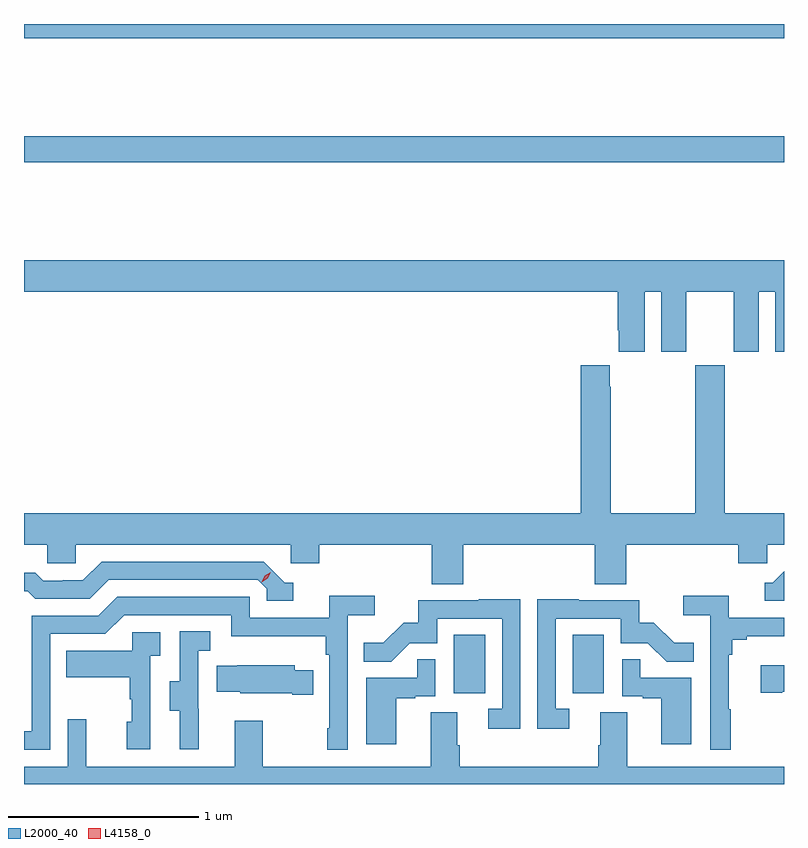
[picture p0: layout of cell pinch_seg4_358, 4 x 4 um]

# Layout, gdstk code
import gdstk
lib = gdstk.Library(unit=1e-6, precision=1e-09)
def R(c, l, rs):  # rectangles x0, y0, x1, y1
    for r in rs: c.add(gdstk.rectangle(r[:2], r[2:], *l))
def P(c, l, *ps):  # polygons
    for p in ps: c.add(gdstk.Polygon(p, *l))
L2000_40 = (2000, 40)
L4158_0 = (4158, 0)

pinch_seg4_358 = lib.new_cell('pinch_seg4_358')
R(pinch_seg4_358, L2000_40, [(975.218,793.374,975.382,793.681), (975.842,793.374,976.006,793.681), (972.955,796.168,976.955,796.304), (972.955,796.82,976.955,796.896)])
P(pinch_seg4_358, L2000_40, [(976.222,795.488),(976.31,795.488),(976.31,795.171),(976.441,795.171),(976.441,795.488),(976.691,795.488),(976.691,795.171),(976.822,795.171),(976.822,795.488),(976.91,795.488),(976.91,795.171),(976.955,795.171),(976.955,795.652),(972.955,795.652),(972.955,795.488),(976.079,795.488),(976.079,795.283),(976.085,795.283),(976.085,795.171),(976.222,795.171)],
  [(975.266,794.156),(975.959,794.156),(975.959,793.948),(976.124,793.948),(976.124,794.156),(976.715,794.156),(976.715,794.058),(976.866,794.058),(976.866,794.156),(976.955,794.156),(976.955,794.32),(976.644,794.32),(976.644,795.1),(976.489,795.1),(976.489,794.32),(976.044,794.32),(976.044,794.987),(976.039,794.987),(976.039,795.1),(975.884,795.1),(975.884,794.32),(972.955,794.32),(972.955,794.156),(973.077,794.156),(973.077,794.058),(973.227,794.058),(973.227,794.156),(974.358,794.156),(974.358,794.058),(974.51,794.058),(974.51,794.156),(975.101,794.156),(975.101,793.948),(975.266,793.948)],
  [(974.371,793.956),(974.328,793.956),(974.217,794.067),(973.364,794.067),(973.265,793.968),(973.158,793.968),(973.158,793.965),(973.055,793.965),(973.013,794.008),(972.955,794.008),(972.955,793.911),(972.974,793.911),(973.013,793.872),(973.302,793.872),(973.401,793.971),(974.184,793.971),(974.232,793.923),(974.232,793.86),(974.371,793.86)],
  [(976.955,794.015),(976.896,793.956),(976.853,793.956),(976.853,793.86),(976.955,793.86)],
  [(973.092,793.686),(973.383,793.686),(973.482,793.785),(974.046,793.785),(974.046,793.673),(974.542,793.673),(974.542,793.577),(974.562,793.577),(974.562,793.189),(974.55,793.189),(974.55,793.077),(974.658,793.077),(974.658,793.784),(974.8,793.784),(974.8,793.886),(974.561,793.886),(974.561,793.77),(974.142,793.77),(974.142,793.881),(973.445,793.881),(973.346,793.782),(972.996,793.782),(972.996,793.173),(972.955,793.173),(972.955,793.077),(973.092,793.077)],
  [(976.675,793.289),(976.663,793.289),(976.663,793.577),(976.682,793.577),(976.682,793.654),(976.759,793.654),(976.759,793.673),(976.955,793.673),(976.955,793.77),(976.664,793.77),(976.664,793.886),(976.425,793.886),(976.425,793.784),(976.566,793.784),(976.566,793.077),(976.675,793.077)],
  [(975.567,793.868),(975.349,793.868),(975.349,793.863),(975.031,793.863),(975.031,793.746),(974.954,793.746),(974.847,793.639),(974.743,793.639),(974.743,793.54),(974.887,793.54),(974.985,793.638),(975.129,793.638),(975.129,793.767),(975.471,793.767),(975.471,793.293),(975.399,793.293),(975.399,793.188),(975.567,793.188)],
  [(975.826,793.293),(975.753,793.293),(975.753,793.767),(976.095,793.767),(976.095,793.638),(976.239,793.638),(976.337,793.54),(976.481,793.54),(976.481,793.639),(976.377,793.639),(976.27,793.746),(976.194,793.746),(976.194,793.863),(975.875,793.863),(975.875,793.868),(975.657,793.868),(975.657,793.188),(975.826,793.188)],
  [(973.874,793.293),(973.872,793.293),(973.872,793.597),(973.936,793.597),(973.936,793.7),(973.776,793.7),(973.776,793.437),(973.721,793.437),(973.721,793.282),(973.775,793.282),(973.775,793.08),(973.874,793.08)],
  [(973.62,793.571),(973.672,793.571),(973.672,793.695),(973.524,793.695),(973.524,793.597),(973.177,793.597),(973.177,793.457),(973.512,793.457),(973.512,793.343),(973.522,793.343),(973.522,793.224),(973.496,793.224),(973.496,793.08),(973.62,793.08)],
  [(976.468,793.455),(976.199,793.455),(976.199,793.553),(976.104,793.553),(976.104,793.359),(976.211,793.359),(976.211,793.347),(976.31,793.347),(976.31,793.104),(976.468,793.104)],
  [(974.914,793.347),(975.014,793.347),(975.014,793.359),(975.12,793.359),(975.12,793.553),(975.025,793.553),(975.025,793.455),(974.756,793.455),(974.756,793.104),(974.914,793.104)],
  [(976.945,793.382),(976.955,793.382),(976.955,793.522),(976.833,793.522),(976.833,793.375),(976.945,793.375)],
  [(974.477,793.495),(974.379,793.495),(974.379,793.522),(974.077,793.522),(974.077,793.519),(973.969,793.519),(973.969,793.382),(974.094,793.382),(974.094,793.373),(974.366,793.373),(974.366,793.366),(974.477,793.366)],
  [(976.955,792.988),(976.129,792.988),(976.129,793.274),(975.989,793.274),(975.989,793.1),(975.977,793.1),(975.977,792.988),(975.248,792.988),(975.248,793.1),(975.235,793.1),(975.235,793.274),(975.095,793.274),(975.095,792.988),(974.211,792.988),(974.211,793.228),(974.063,793.228),(974.063,792.988),(973.283,792.988),(973.283,793.237),(973.185,793.237),(973.185,792.988),(972.955,792.988),(972.955,792.896),(976.955,792.896)])
P(pinch_seg4_358, L4158_0, [(974.206,793.958),(974.206,793.959),(974.222,793.991),(974.253,794.011),(974.253,794.011),(974.253,794.011),(974.237,793.978),(974.207,793.958)])

lib.write_gds('pinch_seg4_358.gds')
